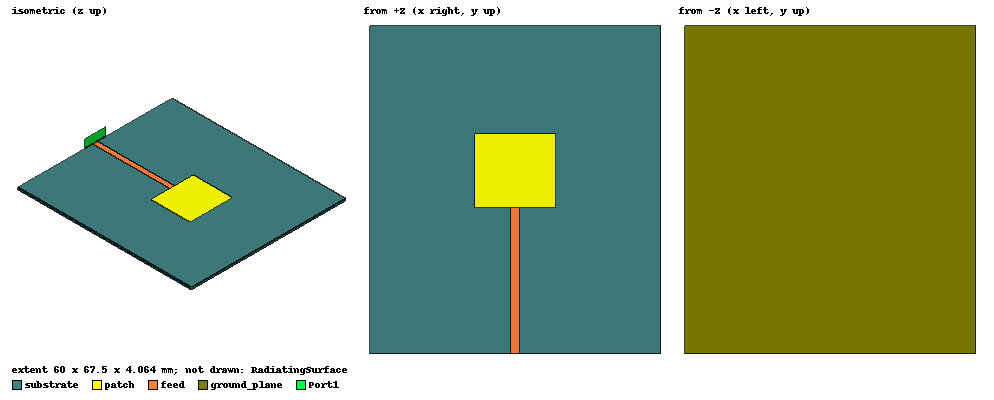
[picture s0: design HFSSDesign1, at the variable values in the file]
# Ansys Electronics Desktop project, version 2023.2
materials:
  vacuum: permittivity=1
  Rogers RO4003 (tm): permittivity=3.55 dielectric_loss_tangent=0.0027
  copper: permeability=0.999991 conductivity=58000000

design HFSSDesign1 (HFSS, HFSS Terminal Network, model units mm)
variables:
  sub_w = lambda
  sub_length = 2.25*lambda/2
  lambda = 2362.205mil
  mlin_width = 71.874803mil
  p_w = 650mil
  p_y = 600mil
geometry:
  substrate [Rogers RO4003 (tm)] = box(corner=(0mm, 0mm, 0mm), size=(sub_w, sub_length, 32mil))
  ground_plane = rectangle(corner=(0mm, 0mm, 0mm), x_size=sub_w, y_size=sub_length)
  feed [copper] = box(corner=((sub_w/2) - (mlin_width/2), 0mm, 33mil), size=(mlin_width, lambda/2, 17um))
  patch [copper] = box(corner=((sub_w/2) - (p_w/2), (lambda/2), 32mil), size=(p_w, p_y, 17um))
  Port1 = rectangle(corner=((sub_w/2)-(5*32mil), 0mm, 0mm), z_size=5*32mil, x_size=10*32mil)
  RadiatingSurface [vacuum] = region(absolute_offset: +X=20mm, -X=20mm, +Y=20mm, -Y=20mm, +Z=20mm, -Z=0)
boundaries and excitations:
  PerfE1: Perfect E Objects=ground_plane
  Open1: Radiation Faces=RadiatingSurface.face(+z, -y, -x, +y, +x)
  Open_InfiniteGnd1: Perfect E Faces=RadiatingSurface.face(-z) InfGroundPlane
  PerfE2: Perfect E Objects=Port1
  feed_T1: Terminal port=1 Faces=feed.face(-y) TerminalResistance=50ohm
  1: Wave Port Faces=Port1.face WavePortType=Terminal NumModes=1
  reference conductors: ground_plane
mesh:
  Length1: LengthBased Objects=RadiatingSurface MaxLength=315
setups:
  Setup1: HfssDriven Frequency=5GHz MaxDeltaS=0.02 MaximumPasses=12 MinimumPasses=1 MinimumConvergedPasses=1 PercentRefinement=30 BasisOrder=1 PortAccuracy=2 DrivenSolverType="Direct Solver"
    sweep Sweep: 2.5GHz to 7.5GHz, 401 points; Type=Fast SaveFields
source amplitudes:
  1:1: 1V 0deg
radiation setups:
  3D: Infinite Sphere Theta=0deg..180deg step 2deg Phi=-180deg..180deg step 2deg
  Elevation: Infinite Sphere Theta=-180deg..180deg step 1deg Phi=0deg..90deg step 90deg
  Azimuth: Infinite Sphere Theta=90deg..90deg step 0deg Phi=-180deg..180deg step 1deg
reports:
  Terminal S Parameter Plot 1: dB(St(feed_T1,feed_T1)) vs Freq on Setup1 : Sweep
